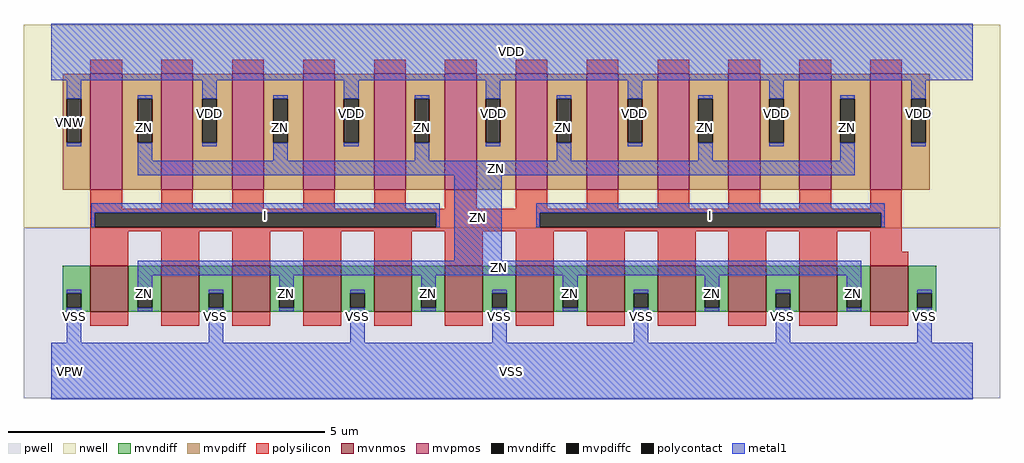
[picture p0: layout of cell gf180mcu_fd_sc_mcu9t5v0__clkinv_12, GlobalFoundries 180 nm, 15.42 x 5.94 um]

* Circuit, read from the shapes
.subckt gf180mcu_fd_sc_mcu9t5v0__clkinv_12 I ZN VDD VNW VPW VSS
XM1 ZN I VSS VPW nfet_06v0 w=0.73u l=0.6u m=12
XM2 ZN I VDD VNW pfet_06v0 w=1.83u l=0.5u m=12
.ends

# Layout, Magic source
magic
tech gf180mcuD
magscale 1 10
<< nwell >>
rect -86 453 2998 1094
<< pwell >>
rect -86 -86 2998 453
<< mvnmos >>
rect 124 187 244 333
rect 348 187 468 333
rect 572 187 692 333
rect 796 187 916 333
rect 1020 187 1140 333
rect 1244 187 1364 333
rect 1468 187 1588 333
rect 1692 187 1812 333
rect 1916 187 2036 333
rect 2140 187 2260 333
rect 2364 187 2484 333
rect 2588 187 2708 333
<< mvpmos >>
rect 124 573 224 939
rect 348 573 448 939
rect 572 573 672 939
rect 796 573 896 939
rect 1020 573 1120 939
rect 1244 573 1344 939
rect 1468 573 1568 939
rect 1692 573 1792 939
rect 1916 573 2016 939
rect 2140 573 2240 939
rect 2364 573 2464 939
rect 2588 573 2688 939
<< mvndiff >>
rect 36 246 124 333
rect 36 200 49 246
rect 95 200 124 246
rect 36 187 124 200
rect 244 246 348 333
rect 244 200 273 246
rect 319 200 348 246
rect 244 187 348 200
rect 468 246 572 333
rect 468 200 497 246
rect 543 200 572 246
rect 468 187 572 200
rect 692 246 796 333
rect 692 200 721 246
rect 767 200 796 246
rect 692 187 796 200
rect 916 246 1020 333
rect 916 200 945 246
rect 991 200 1020 246
rect 916 187 1020 200
rect 1140 246 1244 333
rect 1140 200 1169 246
rect 1215 200 1244 246
rect 1140 187 1244 200
rect 1364 246 1468 333
rect 1364 200 1393 246
rect 1439 200 1468 246
rect 1364 187 1468 200
rect 1588 246 1692 333
rect 1588 200 1617 246
rect 1663 200 1692 246
rect 1588 187 1692 200
rect 1812 246 1916 333
rect 1812 200 1841 246
rect 1887 200 1916 246
rect 1812 187 1916 200
rect 2036 246 2140 333
rect 2036 200 2065 246
rect 2111 200 2140 246
rect 2036 187 2140 200
rect 2260 246 2364 333
rect 2260 200 2289 246
rect 2335 200 2364 246
rect 2260 187 2364 200
rect 2484 246 2588 333
rect 2484 200 2513 246
rect 2559 200 2588 246
rect 2484 187 2588 200
rect 2708 246 2796 333
rect 2708 200 2737 246
rect 2783 200 2796 246
rect 2708 187 2796 200
<< mvpdiff >>
rect 36 861 124 939
rect 36 721 49 861
rect 95 721 124 861
rect 36 573 124 721
rect 224 861 348 939
rect 224 721 273 861
rect 319 721 348 861
rect 224 573 348 721
rect 448 861 572 939
rect 448 721 477 861
rect 523 721 572 861
rect 448 573 572 721
rect 672 861 796 939
rect 672 721 701 861
rect 747 721 796 861
rect 672 573 796 721
rect 896 861 1020 939
rect 896 721 925 861
rect 971 721 1020 861
rect 896 573 1020 721
rect 1120 861 1244 939
rect 1120 721 1149 861
rect 1195 721 1244 861
rect 1120 573 1244 721
rect 1344 861 1468 939
rect 1344 721 1373 861
rect 1419 721 1468 861
rect 1344 573 1468 721
rect 1568 861 1692 939
rect 1568 721 1597 861
rect 1643 721 1692 861
rect 1568 573 1692 721
rect 1792 861 1916 939
rect 1792 721 1821 861
rect 1867 721 1916 861
rect 1792 573 1916 721
rect 2016 861 2140 939
rect 2016 721 2045 861
rect 2091 721 2140 861
rect 2016 573 2140 721
rect 2240 861 2364 939
rect 2240 721 2269 861
rect 2315 721 2364 861
rect 2240 573 2364 721
rect 2464 861 2588 939
rect 2464 721 2493 861
rect 2539 721 2588 861
rect 2464 573 2588 721
rect 2688 861 2776 939
rect 2688 721 2717 861
rect 2763 721 2776 861
rect 2688 573 2776 721
<< mvndiffc >>
rect 49 200 95 246
rect 273 200 319 246
rect 497 200 543 246
rect 721 200 767 246
rect 945 200 991 246
rect 1169 200 1215 246
rect 1393 200 1439 246
rect 1617 200 1663 246
rect 1841 200 1887 246
rect 2065 200 2111 246
rect 2289 200 2335 246
rect 2513 200 2559 246
rect 2737 200 2783 246
<< mvpdiffc >>
rect 49 721 95 861
rect 273 721 319 861
rect 477 721 523 861
rect 701 721 747 861
rect 925 721 971 861
rect 1149 721 1195 861
rect 1373 721 1419 861
rect 1597 721 1643 861
rect 1821 721 1867 861
rect 2045 721 2091 861
rect 2269 721 2315 861
rect 2493 721 2539 861
rect 2717 721 2763 861
<< polysilicon >>
rect 124 939 224 983
rect 348 939 448 983
rect 572 939 672 983
rect 796 939 896 983
rect 1020 939 1120 983
rect 1244 939 1344 983
rect 1468 939 1568 983
rect 1692 939 1792 983
rect 1916 939 2016 983
rect 2140 939 2240 983
rect 2364 939 2464 983
rect 2588 939 2688 983
rect 124 513 224 573
rect 348 513 448 573
rect 572 513 672 573
rect 796 513 896 573
rect 1020 513 1120 573
rect 1244 513 1344 573
rect 1468 513 1568 573
rect 1692 513 1792 573
rect 1916 513 2016 573
rect 2140 513 2240 573
rect 2364 513 2464 573
rect 2588 513 2688 573
rect 124 500 2688 513
rect 124 454 137 500
rect 1217 454 1543 500
rect 2623 454 2688 500
rect 124 441 2688 454
rect 124 333 244 441
rect 348 333 468 441
rect 572 333 692 441
rect 796 333 916 441
rect 1020 333 1140 441
rect 1244 333 1364 441
rect 1468 333 1588 441
rect 1692 333 1812 441
rect 1916 333 2036 441
rect 2140 333 2260 441
rect 2364 333 2484 441
rect 2588 377 2688 441
rect 2588 333 2708 377
rect 124 143 244 187
rect 348 143 468 187
rect 572 143 692 187
rect 796 143 916 187
rect 1020 143 1140 187
rect 1244 143 1364 187
rect 1468 143 1588 187
rect 1692 143 1812 187
rect 1916 143 2036 187
rect 2140 143 2260 187
rect 2364 143 2484 187
rect 2588 143 2708 187
<< polycontact >>
rect 137 454 1217 500
rect 1543 454 2623 500
<< metal1 >>
rect 0 918 2912 1098
rect 49 861 95 918
rect 49 710 95 721
rect 273 861 319 872
rect 273 664 319 721
rect 477 861 523 918
rect 477 710 523 721
rect 701 861 747 872
rect 701 664 747 721
rect 925 861 971 918
rect 925 710 971 721
rect 1149 861 1195 872
rect 1149 664 1195 721
rect 1373 861 1419 918
rect 1373 710 1419 721
rect 1597 861 1643 872
rect 1597 664 1643 721
rect 1821 861 1867 918
rect 1821 710 1867 721
rect 2045 861 2091 872
rect 2045 664 2091 721
rect 2269 861 2315 918
rect 2269 710 2315 721
rect 2493 861 2539 872
rect 2493 664 2539 721
rect 2717 861 2763 918
rect 2717 710 2763 721
rect 273 618 2539 664
rect 126 500 1228 530
rect 126 454 137 500
rect 1217 454 1228 500
rect 1274 349 1424 618
rect 1532 500 2634 530
rect 1532 454 1543 500
rect 2623 454 2634 500
rect 273 303 2559 349
rect 49 246 95 257
rect 49 90 95 200
rect 273 246 319 303
rect 273 189 319 200
rect 497 246 543 257
rect 497 90 543 200
rect 721 246 767 303
rect 721 189 767 200
rect 945 246 991 257
rect 945 90 991 200
rect 1169 246 1215 303
rect 1169 189 1215 200
rect 1393 246 1439 257
rect 1393 90 1439 200
rect 1617 246 1663 303
rect 1617 189 1663 200
rect 1841 246 1887 257
rect 1841 90 1887 200
rect 2065 246 2111 303
rect 2065 189 2111 200
rect 2289 246 2335 257
rect 2289 90 2335 200
rect 2513 246 2559 303
rect 2513 189 2559 200
rect 2737 246 2783 257
rect 2737 90 2783 200
rect 0 -90 2912 90
<< labels >>
flabel metal1 s 126 454 1228 530 0 FreeSans 200 0 0 0 I
port 1 nsew default input
flabel metal1 s 0 918 2912 1098 0 FreeSans 200 0 0 0 VDD
port 3 nsew power bidirectional abutment
flabel metal1 s 2737 90 2783 257 0 FreeSans 200 0 0 0 VSS
port 6 nsew ground bidirectional abutment
flabel metal1 s 2493 664 2539 872 0 FreeSans 200 0 0 0 ZN
port 2 nsew default output
flabel nwell s 10 734 110 834 0 FreeSans 400 0 0 0 VNW
port 4 nsew power bidirectional
flabel pwell s 10 -50 110 50 0 FreeSans 400 0 0 0 VPW
port 5 nsew ground bidirectional
rlabel metal1 s 1532 454 2634 530 1 I
port 1 nsew default input
rlabel metal1 s 2045 664 2091 872 1 ZN
port 2 nsew default output
rlabel metal1 s 1597 664 1643 872 1 ZN
port 2 nsew default output
rlabel metal1 s 1149 664 1195 872 1 ZN
port 2 nsew default output
rlabel metal1 s 701 664 747 872 1 ZN
port 2 nsew default output
rlabel metal1 s 273 664 319 872 1 ZN
port 2 nsew default output
rlabel metal1 s 273 618 2539 664 1 ZN
port 2 nsew default output
rlabel metal1 s 1274 349 1424 618 1 ZN
port 2 nsew default output
rlabel metal1 s 273 303 2559 349 1 ZN
port 2 nsew default output
rlabel metal1 s 2513 189 2559 303 1 ZN
port 2 nsew default output
rlabel metal1 s 2065 189 2111 303 1 ZN
port 2 nsew default output
rlabel metal1 s 1617 189 1663 303 1 ZN
port 2 nsew default output
rlabel metal1 s 1169 189 1215 303 1 ZN
port 2 nsew default output
rlabel metal1 s 721 189 767 303 1 ZN
port 2 nsew default output
rlabel metal1 s 273 189 319 303 1 ZN
port 2 nsew default output
rlabel metal1 s 2717 710 2763 918 1 VDD
port 3 nsew power bidirectional abutment
rlabel metal1 s 2269 710 2315 918 1 VDD
port 3 nsew power bidirectional abutment
rlabel metal1 s 1821 710 1867 918 1 VDD
port 3 nsew power bidirectional abutment
rlabel metal1 s 1373 710 1419 918 1 VDD
port 3 nsew power bidirectional abutment
rlabel metal1 s 925 710 971 918 1 VDD
port 3 nsew power bidirectional abutment
rlabel metal1 s 477 710 523 918 1 VDD
port 3 nsew power bidirectional abutment
rlabel metal1 s 49 710 95 918 1 VDD
port 3 nsew power bidirectional abutment
rlabel metal1 s 2289 90 2335 257 1 VSS
port 6 nsew ground bidirectional abutment
rlabel metal1 s 1841 90 1887 257 1 VSS
port 6 nsew ground bidirectional abutment
rlabel metal1 s 1393 90 1439 257 1 VSS
port 6 nsew ground bidirectional abutment
rlabel metal1 s 945 90 991 257 1 VSS
port 6 nsew ground bidirectional abutment
rlabel metal1 s 497 90 543 257 1 VSS
port 6 nsew ground bidirectional abutment
rlabel metal1 s 49 90 95 257 1 VSS
port 6 nsew ground bidirectional abutment
rlabel metal1 s 0 -90 2912 90 1 VSS
port 6 nsew ground bidirectional abutment
<< properties >>
string FIXED_BBOX 0 0 2912 1008
string GDS_END 1465542
string GDS_FILE $PDKPATH/libs.ref/gf180mcu_fd_sc_mcu9t5v0/gds/gf180mcu_fd_sc_mcu9t5v0.gds
string GDS_START 1458288
string LEFclass core
string LEFsite GF018hv5v_green_sc9
string LEFsymmetry X Y
<< end >>
